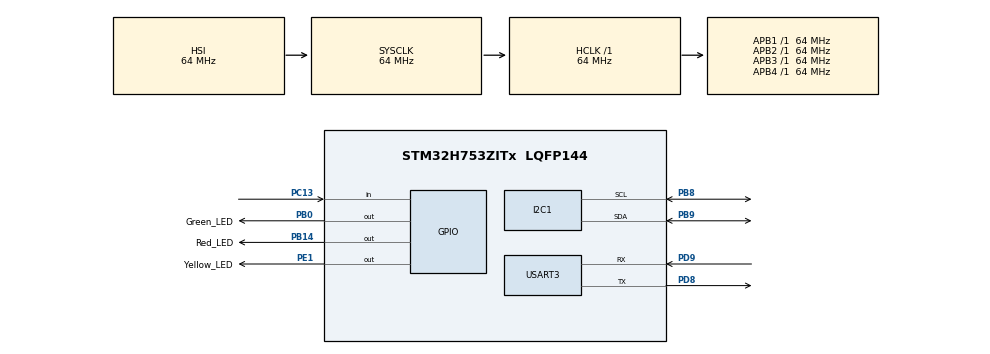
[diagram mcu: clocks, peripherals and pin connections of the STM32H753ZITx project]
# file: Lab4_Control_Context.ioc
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CORTEX_M7.CPU_DCache=Disabled
CORTEX_M7.CPU_ICache=Disabled
CORTEX_M7.MPU_Control=__NULL
CORTEX_M7.default_mode_Activation=1
Dma.I2C1_RX.1.Direction=DMA_PERIPH_TO_MEMORY
Dma.I2C1_RX.1.EventEnable=DISABLE
Dma.I2C1_RX.1.FIFOMode=DMA_FIFOMODE_DISABLE
Dma.I2C1_RX.1.Instance=DMA1_Stream1
Dma.I2C1_RX.1.MemDataAlignment=DMA_MDATAALIGN_BYTE
Dma.I2C1_RX.1.MemInc=DMA_MINC_ENABLE
Dma.I2C1_RX.1.Mode=DMA_NORMAL
Dma.I2C1_RX.1.PeriphDataAlignment=DMA_PDATAALIGN_BYTE
Dma.I2C1_RX.1.PeriphInc=DMA_PINC_DISABLE
Dma.I2C1_RX.1.Polarity=HAL_DMAMUX_REQ_GEN_RISING
Dma.I2C1_RX.1.Priority=DMA_PRIORITY_LOW
Dma.I2C1_RX.1.RequestNumber=1
Dma.I2C1_RX.1.SignalID=NONE
Dma.I2C1_RX.1.SyncEnable=DISABLE
Dma.I2C1_RX.1.SyncPolarity=HAL_DMAMUX_SYNC_NO_EVENT
Dma.I2C1_RX.1.SyncRequestNumber=1
Dma.I2C1_RX.1.SyncSignalID=NONE
Dma.I2C1_TX.0.Direction=DMA_MEMORY_TO_PERIPH
Dma.I2C1_TX.0.EventEnable=DISABLE
Dma.I2C1_TX.0.FIFOMode=DMA_FIFOMODE_DISABLE
Dma.I2C1_TX.0.Instance=DMA1_Stream0
Dma.I2C1_TX.0.MemDataAlignment=DMA_MDATAALIGN_BYTE
Dma.I2C1_TX.0.MemInc=DMA_MINC_ENABLE
Dma.I2C1_TX.0.Mode=DMA_NORMAL
Dma.I2C1_TX.0.PeriphDataAlignment=DMA_PDATAALIGN_BYTE
Dma.I2C1_TX.0.PeriphInc=DMA_PINC_DISABLE
Dma.I2C1_TX.0.Polarity=HAL_DMAMUX_REQ_GEN_RISING
Dma.I2C1_TX.0.Priority=DMA_PRIORITY_LOW
Dma.I2C1_TX.0.RequestNumber=1
Dma.I2C1_TX.0.SignalID=NONE
Dma.I2C1_TX.0.SyncEnable=DISABLE
Dma.I2C1_TX.0.SyncPolarity=HAL_DMAMUX_SYNC_NO_EVENT
Dma.I2C1_TX.0.SyncRequestNumber=1
Dma.I2C1_TX.0.SyncSignalID=NONE
Dma.Request0=I2C1_TX
Dma.Request1=I2C1_RX
FREERTOS.Tasks01=sensorReadTaskH,24,128,sensorReadTask,Default,NULL,Dynamic,NULL,NULL;contTaskHandle,8,128,contTask,Default,NULL,Dynamic,NULL,NULL;actuatorTaskH,8,128,actuatorTask,Default,NULL,Dynamic,NULL,NULL
FREERTOS.configUSE_NEWLIB_REENTRANT=1
FREERTOS.copyHeapFile=0
Mcu.Family=STM32H7
Mcu.Name=STM32H753ZITx
Mcu.Package=LQFP144
NUCLEO-H753ZI.BUTTON=1
NUCLEO-H753ZI.LD1=false
NUCLEO-H753ZI.LD2=false
NUCLEO-H753ZI.LD3=false
NUCLEO-H753ZI.VCP=false
NVIC.DMA1_Stream0_IRQn=true\:5\:0\:false\:false\:true\:true\:false\:true\:true
NVIC.DMA1_Stream1_IRQn=true\:5\:0\:false\:false\:true\:true\:false\:true\:true
NVIC.EXTI15_10_IRQn=true\:5\:0\:false\:false\:true\:true\:false\:true\:true
NVIC.I2C1_ER_IRQn=true\:5\:0\:false\:false\:true\:true\:true\:true\:true
NVIC.I2C1_EV_IRQn=true\:5\:0\:false\:false\:true\:true\:true\:true\:true
NVIC.PriorityGroup=NVIC_PRIORITYGROUP_4
NVIC.TIM6_DAC_IRQn=true\:15\:0\:false\:false\:true\:false\:false\:true\:true
NVIC.TimeBase=TIM6_DAC_IRQn
NVIC.TimeBaseIP=TIM6
NVIC.USART3_IRQn=true\:5\:0\:false\:false\:true\:true\:true\:true\:true
PB0.GPIO_Label=Green_LED
PB0.GPIO_Speed=GPIO_SPEED_FREQ_VERY_HIGH
PB0.PinState=GPIO_PIN_SET
PB0.Signal=GPIO_Output
PB14.GPIO_Label=Red_LED
PB14.GPIO_Speed=GPIO_SPEED_FREQ_VERY_HIGH
PB14.PinState=GPIO_PIN_SET
PB14.Signal=GPIO_Output
PB8.GPIO_Pu=GPIO_PULLUP
PB8.GPIO_Speed=GPIO_SPEED_FREQ_VERY_HIGH
PB8.Mode=I2C
PB8.Signal=I2C1_SCL
PB9.GPIO_Pu=GPIO_PULLUP
PB9.GPIO_Speed=GPIO_SPEED_FREQ_VERY_HIGH
PB9.Mode=I2C
PB9.Signal=I2C1_SDA
PC13.Signal=GPIO_Input
PC14-OSC32_IN\ (OSC32_IN).Signal=RCC_OSC32_IN
PC15-OSC32_OUT\ (OSC32_OUT).Signal=RCC_OSC32_OUT
PD8.GPIO_Speed=GPIO_SPEED_FREQ_VERY_HIGH
PD8.Mode=Asynchronous
PD8.Signal=USART3_TX
PD9.GPIO_Speed=GPIO_SPEED_FREQ_VERY_HIGH
PD9.Mode=Asynchronous
PD9.Signal=USART3_RX
PE1.GPIO_Label=Yellow_LED
PE1.GPIO_Speed=GPIO_SPEED_FREQ_VERY_HIGH
PE1.PinState=GPIO_PIN_SET
PE1.Signal=GPIO_Output
PH0-OSC_IN\ (PH0).Signal=RCC_OSC_IN
PH1-OSC_OUT\ (PH1).Signal=RCC_OSC_OUT
ProjectManager.HeapSize=0x200
ProjectManager.StackSize=0x400
ProjectManager.TargetToolchain=STM32CubeIDE
RCC.ADCFreq_Value=129000000
RCC.APB1Freq_Value=64000000
RCC.APB2Freq_Value=64000000
RCC.APB3Freq_Value=64000000
RCC.APB4Freq_Value=64000000
RCC.CortexFreq_Value=64000000
RCC.DIVM1=1
RCC.DIVN1=24
RCC.DIVQ1=4
RCC.HCLKFreq_Value=64000000
RCC.HSE_VALUE=8000000
RCC.PLLFRACN=0
RCC.PWR_Regulator_Voltage_Scale=PWR_REGULATOR_VOLTAGE_SCALE2
RCC.SYSCLKFreq_VALUE=64000000
RCC.USBFreq_Value=384000000
USART3.VirtualMode-Asynchronous=VM_ASYNC
VP_FREERTOS_VS_CMSIS_V2.Mode=CMSIS_V2
VP_MEMORYMAP_VS_MEMORYMAP.Mode=CurAppReg
VP_NUCLEO-H753ZI_VS_BSP_COMMON.Mode=COMMON
VP_SYS_VS_tim6.Mode=TIM6
board=NUCLEO-H753ZI

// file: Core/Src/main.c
/* USER CODE BEGIN Header */
/**
  ******************************************************************************
  * @file           : main.c
  * @brief          : Main program body
  ******************************************************************************
  * @attention
  *
  * Copyright (c) 2025 STMicroelectronics.
  * All rights reserved.
  *
  * This software is licensed under terms that can be found in the LICENSE file
  * in the root directory of this software component.
  * If no LICENSE file comes with this software, it is provided AS-IS.
  *
  ******************************************************************************
  */
/* USER CODE END Header */
#include "main.h"
#include "cmsis_os.h"

/* USER CODE BEGIN Includes */
#include <stdio.h>
#include <string.h>
#include <stdint.h>
#include <stdlib.h>
#include <math.h>
#include "task.h"
/* USER CODE END Includes */

I2C_HandleTypeDef hi2c1;
DMA_HandleTypeDef hdma_i2c1_tx;
DMA_HandleTypeDef hdma_i2c1_rx;

UART_HandleTypeDef huart3;

/* Definitions for sensorReadTaskH */
osThreadId_t sensorReadTaskHHandle;
const osThreadAttr_t sensorReadTaskH_attributes = {
  .name = "sensorReadTaskH",
  .stack_size = 128 * 4,
  .priority = (osPriority_t) osPriorityNormal,
};
/* Definitions for contTaskHandle */
osThreadId_t contTaskHandleHandle;
const osThreadAttr_t contTaskHandle_attributes = {
  .name = "contTaskHandle",
  .stack_size = 128 * 4,
  .priority = (osPriority_t) osPriorityLow1,
};
/* Definitions for actuatorTaskH */
osThreadId_t actuatorTaskHHandle;
const osThreadAttr_t actuatorTaskH_attributes = {
  .name = "actuatorTaskH",
  .stack_size = 128 * 4,
  .priority = (osPriority_t) osPriorityLow2,
};
/* USER CODE BEGIN PV */
uint8_t ADXL_Bytes [1];
static const uint8_t ADDR = 0x1D<<1; /*Shift for 7-bit addresses*/
static const uint8_t DATA_FORMAT = 0x31;
static const uint8_t PWRCTL = 0x2D;
static const uint8_t DATA_X0 = 0x32;
float acc_Data[3] = {0};
int state;
HAL_StatusTypeDef ret;
		uint8_t REGISTER;
		uint8_t DATA;
		uint8_t DATA_WRITE[2];
/* USER CODE END PV */

void SystemClock_Config(void);
static void MX_GPIO_Init(void);
static void MX_DMA_Init(void);
static void MX_I2C1_Init(void);
static void MX_USART3_UART_Init(void);
void sensorReadTask(void *argument);
void contTask(void *argument);
void actuatorTask(void *argument);

/* USER CODE BEGIN 0 */
void INIT_Accel(){
	REGISTER = DATA_FORMAT;
			    DATA = 0x00;
			    DATA_WRITE[0] = REGISTER;
			    DATA_WRITE[1] = DATA;
			    ret = HAL_I2C_Master_Transmit(&hi2c1,ADDR,DATA_WRITE,2,HAL_MAX_DELAY);

			    REGISTER = PWRCTL;
			    DATA = 0x00;
			    DATA_WRITE[0] = REGISTER;
			    DATA_WRITE[1] = DATA;
			    ret = HAL_I2C_Master_Transmit(&hi2c1,ADDR,DATA_WRITE,2,HAL_MAX_DELAY);

			    REGISTER = PWRCTL;
			    DATA = 0x08;
			    DATA_WRITE[0] = REGISTER;
			    DATA_WRITE[1] = DATA;
			    ret = HAL_I2C_Master_Transmit(&hi2c1,ADDR,DATA_WRITE,2,HAL_MAX_DELAY);
}
void ACC_ReadAccel(float *sensor_data) {

		    REGISTER = DATA_X0;
		    	  	uint8_t RAWACCEL[6];

		    	  	//ret = HAL_I2C_Master_Transmit(&hi2c1,ADDR,&REGISTER,1,HAL_MAX_DELAY);
		    	  	//HAL_Delay(1);
		    	  	//ret = HAL_I2C_Master_Receive(&hi2c1,ADDR,RAWACCEL,6,HAL_MAX_DELAY);

		    	  	HAL_I2C_Mem_Read(&hi2c1, ADDR, DATA_X0, I2C_MEMADD_SIZE_8BIT, RAWACCEL, 6, HAL_MAX_DELAY);

		    	  	int16_t x = (int16_t)((RAWACCEL[1]<<8)|RAWACCEL[0]);
		    	  	int16_t y = (int16_t)((RAWACCEL[3]<<8)|RAWACCEL[2]);
		    	  	int16_t z = (int16_t)((RAWACCEL[5]<<8)|RAWACCEL[4]);

		    	  	char DebugTxMsg[43];
		    	  	snprintf(DebugTxMsg, sizeof(DebugTxMsg), "Prescaled: X: %d Y: %d Z: %d \n", x, y, z);
		    	  	HAL_UART_Transmit(&huart3,(uint8_t*)DebugTxMsg, strlen(DebugTxMsg),30);

		    	  	float x_scaled = x * 0.0039f;
		    	  	float y_scaled = y * 0.0039f;
		    	  	float z_scaled = z * 0.0039f;

		    	  	sensor_data[0]=x_scaled;
		    	  	sensor_data[1]=y_scaled;
		    	  	sensor_data[2]=z_scaled;

}
void sim_Act_Output(int trigger_State){
	if (trigger_State == 1){
		HAL_GPIO_WritePin(GPIOE, GPIO_PIN_1, GPIO_PIN_SET);
	}
	else {
		HAL_GPIO_WritePin(GPIOE, GPIO_PIN_1, GPIO_PIN_RESET);
	}
}

void traceTaskSwitch(void){
	uint8_t buf1[50];
	HAL_GPIO_TogglePin(GPIOB, GPIO_PIN_14);
	snprintf(buf1, sizeof(buf1), "Current task: %s\r\n", pcTaskGetName(NULL));
	HAL_UART_Transmit(&huart3,(uint8_t*)buf1, strlen(buf1),30);
}
/* USER CODE END 0 */

int main(void)
{

  /* MCU Configuration--------------------------------------------------------*/

  /* Reset of all peripherals, Initializes the Flash interface and the Systick. */
  HAL_Init();

  /* Configure the system clock */
  SystemClock_Config();

  /* Initialize all configured peripherals */
  MX_GPIO_Init();
  MX_DMA_Init();
  MX_I2C1_Init();
  MX_USART3_UART_Init();

  /* Init scheduler */
  osKernelInitialize();

  /* Create the thread(s) */
  /* creation of sensorReadTaskH */
  sensorReadTaskHHandle = osThreadNew(sensorReadTask, NULL, &sensorReadTaskH_attributes);

  /* creation of contTaskHandle */
  contTaskHandleHandle = osThreadNew(contTask, NULL, &contTaskHandle_attributes);

  /* creation of actuatorTaskH */
  actuatorTaskHHandle = osThreadNew(actuatorTask, NULL, &actuatorTaskH_attributes);

  /* Initialize USER push-button, will be used to trigger an interrupt each time it's pressed.*/
  BSP_PB_Init(BUTTON_USER, BUTTON_MODE_EXTI);

  /* Start scheduler */
  osKernelStart();

  /* We should never get here as control is now taken by the scheduler */

  /* Infinite loop */
  while (1)
  {

  }
}

void SystemClock_Config(void)
{
  RCC_OscInitTypeDef RCC_OscInitStruct = {0};
  RCC_ClkInitTypeDef RCC_ClkInitStruct = {0};

  /** Supply configuration update enable
  */
  HAL_PWREx_ConfigSupply(PWR_LDO_SUPPLY);

  /** Configure the main internal regulator output voltage
  */
  __HAL_PWR_VOLTAGESCALING_CONFIG(PWR_REGULATOR_VOLTAGE_SCALE2);

  while(!__HAL_PWR_GET_FLAG(PWR_FLAG_VOSRDY)) {}

  /** Initializes the RCC Oscillators according to the specified parameters
  * in the RCC_OscInitTypeDef structure.
  */
  RCC_OscInitStruct.OscillatorType = RCC_OSCILLATORTYPE_HSI;
  RCC_OscInitStruct.HSIState = RCC_HSI_DIV1;
  RCC_OscInitStruct.HSICalibrationValue = RCC_HSICALIBRATION_DEFAULT;
  RCC_OscInitStruct.PLL.PLLState = RCC_PLL_NONE;
  if (HAL_RCC_OscConfig(&RCC_OscInitStruct) != HAL_OK)
  {
    Error_Handler();
  }

  /** Initializes the CPU, AHB and APB buses clocks
  */
  RCC_ClkInitStruct.ClockType = RCC_CLOCKTYPE_HCLK|RCC_CLOCKTYPE_SYSCLK
                              |RCC_CLOCKTYPE_PCLK1|RCC_CLOCKTYPE_PCLK2
                              |RCC_CLOCKTYPE_D3PCLK1|RCC_CLOCKTYPE_D1PCLK1;
  RCC_ClkInitStruct.SYSCLKSource = RCC_SYSCLKSOURCE_HSI;
  RCC_ClkInitStruct.SYSCLKDivider = RCC_SYSCLK_DIV1;
  RCC_ClkInitStruct.AHBCLKDivider = RCC_HCLK_DIV1;
  RCC_ClkInitStruct.APB3CLKDivider = RCC_APB3_DIV1;
  RCC_ClkInitStruct.APB1CLKDivider = RCC_APB1_DIV1;
  RCC_ClkInitStruct.APB2CLKDivider = RCC_APB2_DIV1;
  RCC_ClkInitStruct.APB4CLKDivider = RCC_APB4_DIV1;

  if (HAL_RCC_ClockConfig(&RCC_ClkInitStruct, FLASH_LATENCY_1) != HAL_OK)
  {
    Error_Handler();
  }
}

static void MX_I2C1_Init(void)
{

  hi2c1.Instance = I2C1;
  hi2c1.Init.Timing = 0x10707DBC;
  hi2c1.Init.OwnAddress1 = 0;
  hi2c1.Init.AddressingMode = I2C_ADDRESSINGMODE_7BIT;
  hi2c1.Init.DualAddressMode = I2C_DUALADDRESS_DISABLE;
  hi2c1.Init.OwnAddress2 = 0;
  hi2c1.Init.OwnAddress2Masks = I2C_OA2_NOMASK;
  hi2c1.Init.GeneralCallMode = I2C_GENERALCALL_DISABLE;
  hi2c1.Init.NoStretchMode = I2C_NOSTRETCH_DISABLE;
  if (HAL_I2C_Init(&hi2c1) != HAL_OK)
  {
    Error_Handler();
  }

  /** Configure Analogue filter
  */
  if (HAL_I2CEx_ConfigAnalogFilter(&hi2c1, I2C_ANALOGFILTER_ENABLE) != HAL_OK)
  {
    Error_Handler();
  }

  /** Configure Digital filter
  */
  if (HAL_I2CEx_ConfigDigitalFilter(&hi2c1, 0) != HAL_OK)
  {
    Error_Handler();
  }

}

static void MX_USART3_UART_Init(void)
{

  huart3.Instance = USART3;
  huart3.Init.BaudRate = 115200;
  huart3.Init.WordLength = UART_WORDLENGTH_8B;
  huart3.Init.StopBits = UART_STOPBITS_1;
  huart3.Init.Parity = UART_PARITY_NONE;
  huart3.Init.Mode = UART_MODE_TX_RX;
  huart3.Init.HwFlowCtl = UART_HWCONTROL_NONE;
  huart3.Init.OverSampling = UART_OVERSAMPLING_16;
  huart3.Init.OneBitSampling = UART_ONE_BIT_SAMPLE_DISABLE;
  huart3.Init.ClockPrescaler = UART_PRESCALER_DIV1;
  huart3.AdvancedInit.AdvFeatureInit = UART_ADVFEATURE_NO_INIT;
  if (HAL_UART_Init(&huart3) != HAL_OK)
  {
    Error_Handler();
  }
  if (HAL_UARTEx_SetTxFifoThreshold(&huart3, UART_TXFIFO_THRESHOLD_1_8) != HAL_OK)
  {
    Error_Handler();
  }
  if (HAL_UARTEx_SetRxFifoThreshold(&huart3, UART_RXFIFO_THRESHOLD_1_8) != HAL_OK)
  {
    Error_Handler();
  }
  if (HAL_UARTEx_DisableFifoMode(&huart3) != HAL_OK)
  {
    Error_Handler();
  }

}

static void MX_DMA_Init(void)
{

  /* DMA controller clock enable */
  __HAL_RCC_DMA1_CLK_ENABLE();

  /* DMA interrupt init */
  /* DMA1_Stream0_IRQn interrupt configuration */
  HAL_NVIC_SetPriority(DMA1_Stream0_IRQn, 5, 0);
  HAL_NVIC_EnableIRQ(DMA1_Stream0_IRQn);
  /* DMA1_Stream1_IRQn interrupt configuration */
  HAL_NVIC_SetPriority(DMA1_Stream1_IRQn, 5, 0);
  HAL_NVIC_EnableIRQ(DMA1_Stream1_IRQn);

}

static void MX_GPIO_Init(void)
{
  GPIO_InitTypeDef GPIO_InitStruct = {0};

  /* GPIO Ports Clock Enable */
  __HAL_RCC_GPIOC_CLK_ENABLE();
  __HAL_RCC_GPIOH_CLK_ENABLE();
  __HAL_RCC_GPIOB_CLK_ENABLE();
  __HAL_RCC_GPIOD_CLK_ENABLE();
  __HAL_RCC_GPIOE_CLK_ENABLE();

  /*Configure GPIO pin Output Level */
  HAL_GPIO_WritePin(GPIOB, Green_LED_Pin|Red_LED_Pin, GPIO_PIN_SET);

  /*Configure GPIO pin Output Level */
  HAL_GPIO_WritePin(Yellow_LED_GPIO_Port, Yellow_LED_Pin, GPIO_PIN_SET);

  /*Configure GPIO pins : Green_LED_Pin Red_LED_Pin */
  GPIO_InitStruct.Pin = Green_LED_Pin|Red_LED_Pin;
  GPIO_InitStruct.Mode = GPIO_MODE_OUTPUT_PP;
  GPIO_InitStruct.Pull = GPIO_NOPULL;
  GPIO_InitStruct.Speed = GPIO_SPEED_FREQ_VERY_HIGH;
  HAL_GPIO_Init(GPIOB, &GPIO_InitStruct);

  /*Configure GPIO pin : Yellow_LED_Pin */
  GPIO_InitStruct.Pin = Yellow_LED_Pin;
  GPIO_InitStruct.Mode = GPIO_MODE_OUTPUT_PP;
  GPIO_InitStruct.Pull = GPIO_NOPULL;
  GPIO_InitStruct.Speed = GPIO_SPEED_FREQ_VERY_HIGH;
  HAL_GPIO_Init(Yellow_LED_GPIO_Port, &GPIO_InitStruct);

}

void sensorReadTask(void *argument)
{
  /* USER CODE BEGIN 5 */
	INIT_Accel();
  /* Infinite loop */
  for(;;)
  {
	  ACC_ReadAccel(acc_Data);

	  char TxMsg[40];
	  snprintf(TxMsg, sizeof(TxMsg), "Scaled: X: %3.2f Y: %3.2f Z: %3.2f \n\n", acc_Data[0], acc_Data[1], acc_Data[2]);
	  HAL_UART_Transmit(&huart3,(uint8_t*)TxMsg, strlen(TxMsg),30);
	  //HAL_GPIO_TogglePin (GPIOB, GPIO_PIN_0);
	  osDelay(10);
  }
  /* USER CODE END 5 */
}

void contTask(void *argument)
{
  /* USER CODE BEGIN contTask */
  /* Infinite loop */
  for(;;)
  {
	  if (fabs(acc_Data[0]) > 1 || fabs(acc_Data[1]) > 1 || fabs(acc_Data[2]) > 1){
		  state = 1;
		  char DebugTxMsg[59];
	      snprintf(DebugTxMsg, sizeof(DebugTxMsg), "Large acceleration detected, initiating jam clear routine.");
	      HAL_UART_Transmit(&huart3,(uint8_t*)DebugTxMsg, strlen(DebugTxMsg),30);
	  }
	  else {
	      	 state = 0;
	  }
	sim_Act_Output(state);
	//HAL_GPIO_TogglePin (GPIOE, GPIO_PIN_1);
    osDelay(10);
  }
  /* USER CODE END contTask */
}

void actuatorTask(void *argument)
{
  /* USER CODE BEGIN actuatorTask */
  /* Infinite loop */
  for(;;)
  {
	HAL_GPIO_TogglePin (GPIOB, GPIO_PIN_0);
    osDelay(400);
  }
  /* USER CODE END actuatorTask */
}

void HAL_TIM_PeriodElapsedCallback(TIM_HandleTypeDef *htim)
{
  if (htim->Instance == TIM6)
  {
    HAL_IncTick();
  }
}

void Error_Handler(void)
{
  __disable_irq();
  while (1)
  {
  }
}
